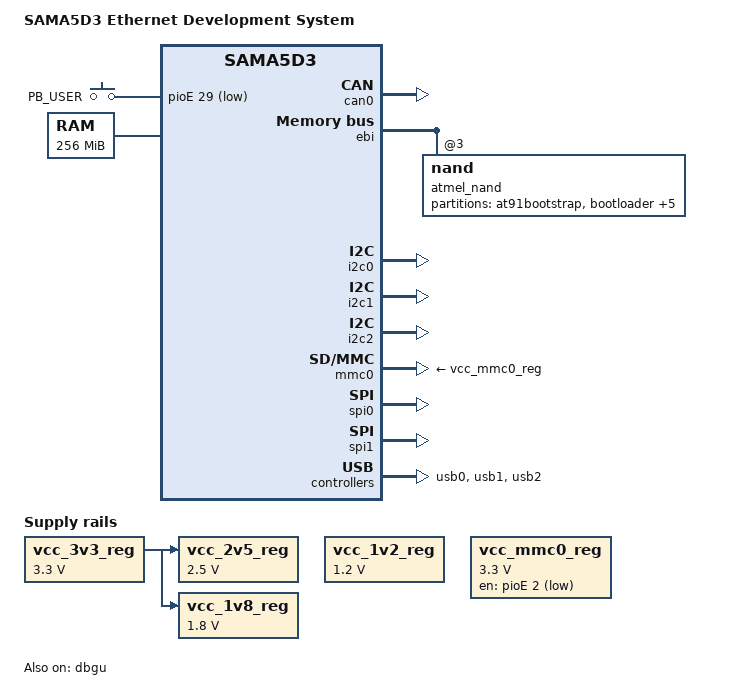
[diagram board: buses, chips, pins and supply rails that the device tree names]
// SPDX-License-Identifier: GPL-2.0+ OR MIT
/*
 * at91-sama5d3_eds.dts - Device Tree file for the SAMA5D3 Ethernet
 *    Development System board.
 *
 * Copyright (C) 2022 Microchip Technology Inc. and its subsidiaries
 *
 * Author: Jerry Ray <jerry.ray@microchip.com>
 */
/dts-v1/;
#include "sama5d36.dtsi"

/ {
	model = "SAMA5D3 Ethernet Development System";
	compatible = "microchip,sama5d3-eds", "atmel,sama5d36",
		     "atmel,sama5d3", "atmel,sama5";

	chosen {
		stdout-path = "serial0:115200n8";
	};

	gpio-keys {
		compatible = "gpio-keys";

		pinctrl-names = "default";
		pinctrl-0 = <&pinctrl_key_gpio>;

		button-3 {
			label = "PB_USER";
			gpios = <&pioE 29 GPIO_ACTIVE_LOW>;
			linux,code = <0x104>;
			wakeup-source;
		};
	};

	memory@20000000 {
		reg = <0x20000000 0x10000000>;
	};

	vcc_3v3_reg: regulator-1 {
		compatible = "regulator-fixed";
		regulator-name = "VCC_3V3";
		regulator-min-microvolt = <3300000>;
		regulator-max-microvolt = <3300000>;
		regulator-always-on;
	};

	vcc_2v5_reg: regulator-2 {
		compatible = "regulator-fixed";
		regulator-name = "VCC_2V5";
		regulator-min-microvolt = <2500000>;
		regulator-max-microvolt = <2500000>;
		regulator-always-on;
		vin-supply = <&vcc_3v3_reg>;
	};

	vcc_1v8_reg: regulator-3 {
		compatible = "regulator-fixed";
		regulator-name = "VCC_1V8";
		regulator-min-microvolt = <1800000>;
		regulator-max-microvolt = <1800000>;
		regulator-always-on;
		vin-supply = <&vcc_3v3_reg>;
	};

	vcc_1v2_reg: regulator-4 {
		compatible = "regulator-fixed";
		regulator-name = "VCC_1V2";
		regulator-min-microvolt = <1200000>;
		regulator-max-microvolt = <1200000>;
		regulator-always-on;
	};

	vcc_mmc0_reg: regulator-5 {
		compatible = "regulator-fixed";
		regulator-name = "mmc0-card-supply";
		regulator-min-microvolt = <3300000>;
		regulator-max-microvolt = <3300000>;
		regulator-always-on;
		pinctrl-names = "default";
		pinctrl-0 = <&pinctrl_vcc_mmc0_reg_gpio>;
		gpio = <&pioE 2 GPIO_ACTIVE_LOW>;
	};
};

&can0 {
	status = "okay";
};

&dbgu {
	status = "okay";
};

&ebi {
	pinctrl-0 = <&pinctrl_ebi_nand_addr>;
	pinctrl-names = "default";
	status = "okay";

	nand_controller: nand-controller {
		status = "okay";

		nand@3 {
			reg = <0x3 0x0 0x2>;
			atmel,rb = <0>;
			nand-bus-width = <8>;
			nand-ecc-mode = "hw";
			nand-ecc-strength = <4>;
			nand-ecc-step-size = <512>;
			nand-on-flash-bbt;
			label = "atmel_nand";

			partitions {
				compatible = "fixed-partitions";
				#address-cells = <1>;
				#size-cells = <1>;

				at91bootstrap@0 {
					label = "at91bootstrap";
					reg = <0x0 0x40000>;
				};

				bootloader@40000 {
					label = "bootloader";
					reg = <0x40000 0xc0000>;
				};

				bootloaderenvred@100000 {
					label = "bootloader env redundant";
					reg = <0x100000 0x40000>;
				};

				bootloaderenv@140000 {
					label = "bootloader env";
					reg = <0x140000 0x40000>;
				};

				dtb@180000 {
					label = "device tree";
					reg = <0x180000 0x80000>;
				};

				kernel@200000 {
					label = "kernel";
					reg = <0x200000 0x600000>;
				};

				rootfs@800000 {
					label = "rootfs";
					reg = <0x800000 0x0f800000>;
				};
			};
		};
	};
};

&i2c0 {
	pinctrl-0 = <&pinctrl_i2c0_pu>;
	status = "okay";
};

&i2c1 {
	status = "okay";
};

&i2c2 {
	pinctrl-0 = <&pinctrl_i2c2_pu>;
	status = "okay";
};

&main_xtal {
	clock-frequency = <12000000>;
};

&mmc0 {
	pinctrl-0 = <&pinctrl_mmc0_clk_cmd_dat0 &pinctrl_mmc0_dat1_3
		     &pinctrl_mmc0_dat4_7 &pinctrl_mmc0_cd>;
	vmmc-supply = <&vcc_mmc0_reg>;
	vqmmc-supply = <&vcc_3v3_reg>;
	status = "okay";
	slot@0 {
		reg = <0>;
		bus-width = <8>;
		cd-gpios = <&pioE 0 GPIO_ACTIVE_LOW>;
	};
};

&pinctrl {
	board {
		pinctrl_i2c0_pu: i2c0-pu {
			atmel,pins =
				<AT91_PIOA 30 AT91_PERIPH_A AT91_PINCTRL_PULL_UP>,
				<AT91_PIOA 31 AT91_PERIPH_A AT91_PINCTRL_PULL_UP>;
		};

		pinctrl_i2c2_pu: i2c2-pu {
			atmel,pins =
				<AT91_PIOA 18 AT91_PERIPH_B AT91_PINCTRL_PULL_UP>,
				<AT91_PIOA 19 AT91_PERIPH_B AT91_PINCTRL_PULL_UP>;
		};

		pinctrl_key_gpio: key-gpio-0 {
			atmel,pins =
				<AT91_PIOE 29 AT91_PERIPH_GPIO AT91_PINCTRL_PULL_UP_DEGLITCH>;
		};

		pinctrl_mmc0_cd: mmc0-cd {
			atmel,pins =
				<AT91_PIOE 0 AT91_PERIPH_GPIO AT91_PINCTRL_PULL_UP_DEGLITCH>;
		};

		/* Reserved for reset signal to the RGMII connector. */
		pinctrl_rgmii_rstn: rgmii-rstn {
			atmel,pins =
				<AT91_PIOD 18 AT91_PERIPH_GPIO AT91_PINCTRL_PULL_UP_DEGLITCH>;
		};

		/* Reserved for an interrupt line from the RMII and RGMII connectors. */
		pinctrl_spi_irqn: spi-irqn {
			atmel,pins =
				<AT91_PIOB 28 AT91_PERIPH_GPIO AT91_PINCTRL_DEGLITCH>;
		};

		pinctrl_spi0_cs: spi0-cs-default {
			atmel,pins =
				<AT91_PIOD 13 AT91_PERIPH_GPIO AT91_PINCTRL_NONE
				 AT91_PIOD 16 AT91_PERIPH_GPIO AT91_PINCTRL_NONE>;
		};

		pinctrl_spi1_cs: spi1-cs-default {
			atmel,pins = <AT91_PIOC 25 AT91_PERIPH_GPIO AT91_PINCTRL_NONE
				      AT91_PIOC 28 AT91_PERIPH_GPIO AT91_PINCTRL_NONE>;
		};

		pinctrl_usba_vbus: usba-vbus {
			atmel,pins =
				<AT91_PIOE 9 AT91_PERIPH_GPIO AT91_PINCTRL_DEGLITCH>;
		};

		pinctrl_usb_default: usb-default {
			atmel,pins =
				<AT91_PIOE 3 AT91_PERIPH_GPIO AT91_PINCTRL_NONE
				 AT91_PIOE 4 AT91_PERIPH_GPIO AT91_PINCTRL_NONE>;
		};

		/* Reserved for VBUS fault interrupt. */
		pinctrl_vbusfault_irqn: vbusfault-irqn {
			atmel,pins =
				<AT91_PIOE 5 AT91_PERIPH_GPIO AT91_PINCTRL_DEGLITCH>;
		};

		pinctrl_vcc_mmc0_reg_gpio: vcc-mmc0-reg-gpio-default {
			atmel,pins = <AT91_PIOE 2 AT91_PERIPH_GPIO AT91_PINCTRL_PULL_UP>;
		};
	};
};

&slow_xtal {
	clock-frequency = <32768>;
};

&spi0 {
	pinctrl-names = "default", "cs";
	pinctrl-1 = <&pinctrl_spi0_cs>;
	cs-gpios = <&pioD 13 0>, <0>, <0>, <&pioD 16 0>;
	status = "okay";
};

&spi1 {
	pinctrl-names = "default", "cs";
	pinctrl-1 = <&pinctrl_spi1_cs>;
	cs-gpios = <&pioC 25 0>, <0>, <0>, <&pioC 28 0>;
	status = "okay";
};

&tcb0 {
	timer0: timer@0 {
		compatible = "atmel,tcb-timer";
		reg = <0>;
	};

	timer1: timer@1 {
		compatible = "atmel,tcb-timer";
		reg = <1>;
	};
};

&usb0 {	/* USB Device port with VBUS detection. */
	atmel,vbus-gpio = <&pioE 9 GPIO_ACTIVE_HIGH>;
	pinctrl-names = "default";
	pinctrl-0 = <&pinctrl_usba_vbus>;
	status = "okay";
};

&usb1 {	/* 3-port Host. First port is unused. */
	atmel,vbus-gpio = <0
			   &pioE 3 GPIO_ACTIVE_HIGH
			   &pioE 4 GPIO_ACTIVE_HIGH
			  >;
	num-ports = <3>;
	pinctrl-names = "default";
	pinctrl-0 = <&pinctrl_usb_default>;
	status = "okay";
};

&usb2 {
	status = "okay";
};
